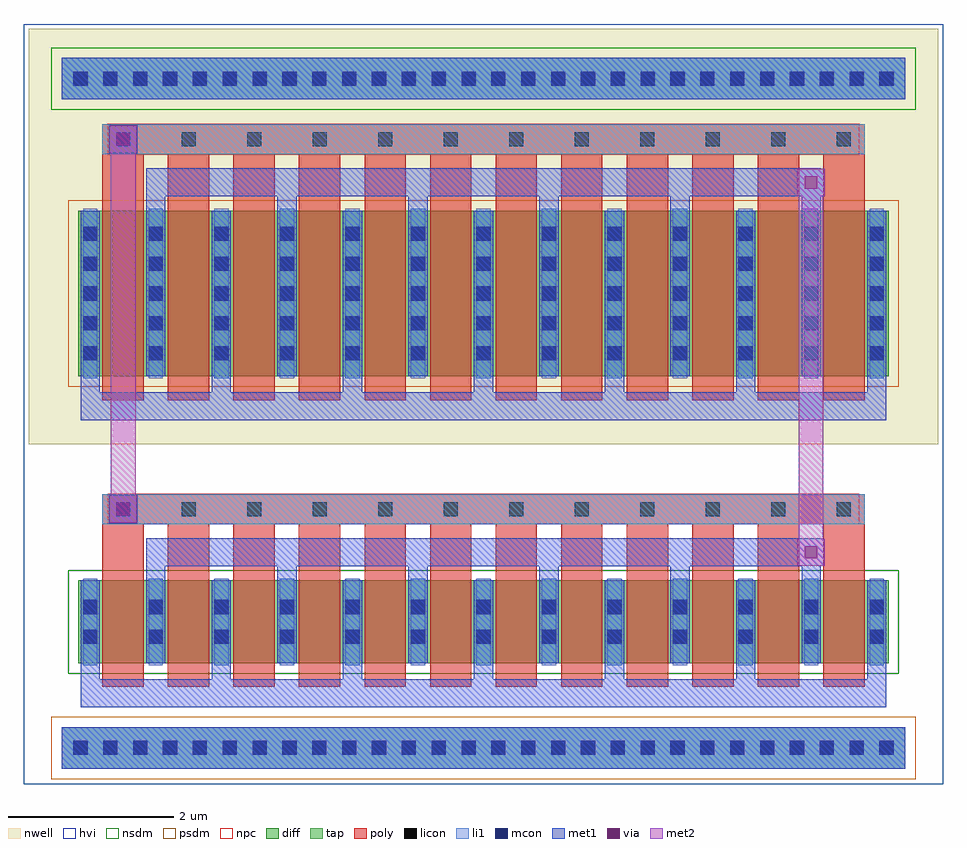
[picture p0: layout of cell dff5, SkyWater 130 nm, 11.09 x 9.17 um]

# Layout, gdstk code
import gdstk
lib = gdstk.Library(unit=1e-6, precision=1e-09)
def R(c, l, rs):  # rectangles x0, y0, x1, y1
    for r in rs: c.add(gdstk.rectangle(r[:2], r[2:], *l))
def A(c, l, x, y, w, h, nx, ny, dx, dy):  # array of equal rectangles
    R(c, l, [(x+i*dx, y+j*dy, x+i*dx+w, y+j*dy+h) for i in range(nx) for j in range(ny)])
def P(c, l, *ps):  # polygons
    for p in ps: c.add(gdstk.Polygon(p, *l))
nwell = (64, 20)
diff = (65, 20)
tap = (65, 44)
poly = (66, 20)
licon = (66, 44)
li1 = (67, 20)
mcon = (67, 44)
met1 = (68, 20)
via = (68, 44)
met2 = (69, 20)
hvi = (75, 20)
nsdm = (93, 44)
psdm = (94, 20)
npc = (95, 20)

dff5 = lib.new_cell('dff5')
R(dff5, nwell, [(-0.4,3.91,10.57,8.92)])
R(dff5, diff, [(0.2,1.27,9.97,2.27), (0.2,4.73,9.97,6.73)])
R(dff5, tap, [(0,0,10.17,0.5), (0,8.07,10.17,8.57)])
A(dff5, poly, 0.49, 0.985, 0.5, 1.57, 12, 1, 0.79, 0)
A(dff5, poly, 0.49, 2.27, 0.5, 0.86, 12, 2, 0.79, 4.46)
A(dff5, poly, 0.49, 4.445, 0.5, 2.57, 12, 1, 0.79, 0)
R(dff5, poly, [(0.49,2.95,9.68,3.31), (0.49,7.41,9.68,7.77)])
A(dff5, licon, 0.14, 0.165, 0.17, 0.17, 28, 2, 0.36, 8.07)
A(dff5, licon, 0.26, 1.505, 0.17, 0.17, 13, 2, 0.79, 0.36)
A(dff5, licon, 0.655, 3.045, 0.17, 0.17, 12, 2, 0.79, 4.46)
A(dff5, licon, 0.26, 4.925, 0.17, 0.17, 13, 5, 0.79, 0.36)
A(dff5, li1, 0.26, 1.25, 0.17, 1.04, 13, 1, 0.79, 0)
A(dff5, li1, 0.26, 4.71, 0.17, 2.04, 13, 1, 0.79, 0)
R(dff5, li1, [(0,0,10.17,0.5), (0.49,2.95,9.68,3.31), (0.49,7.41,9.68,7.77), (0,8.07,10.17,8.57)])
A(dff5, mcon, 0.14, 0.165, 0.17, 0.17, 28, 2, 0.36, 8.07)
A(dff5, mcon, 0.26, 1.505, 0.17, 0.17, 13, 2, 0.79, 0.36)
A(dff5, mcon, 0.26, 4.925, 0.17, 0.17, 13, 5, 0.79, 0.36)
R(dff5, mcon, [(0.655,3.045,0.825,3.215), (0.655,7.505,0.825,7.675)])
A(dff5, met1, 0.23, 0.74, 0.23, 0.53, 7, 2, 1.58, 3.46)
A(dff5, met1, 0.23, 1.27, 0.23, 1, 13, 1, 0.79, 0)
A(dff5, met1, 1.02, 2.27, 0.23, 0.51, 6, 2, 1.58, 4.46)
A(dff5, met1, 0.23, 4.73, 0.23, 2, 13, 1, 0.79, 0)
R(dff5, met1, [(0,0,10.17,0.5), (0.23,0.74,9.94,1.08), (1.02,2.44,9.15,2.78), (8.87,2.445,9.2,2.775), (0.57,2.96,0.91,3.3), (0.575,2.965,0.905,3.295), (0.23,4.2,9.94,4.54), (1.02,6.9,9.15,7.24), (8.87,6.905,9.2,7.235), (0.57,7.42,0.91,7.76), (0.575,7.425,0.905,7.755), (0,8.07,10.17,8.57)])
P(dff5, met1, [(9.035,2.44),(9.035,2.78),(9.035,2.78),(9.035,2.44)],
  [(9.035,6.9),(9.035,7.24),(9.035,7.24),(9.035,6.9)])
R(dff5, via, [(8.96,2.535,9.11,2.685), (0.665,3.055,0.815,3.205), (8.96,6.995,9.11,7.145), (0.665,7.515,0.815,7.665)])
R(dff5, met2, [(8.87,2.445,9.2,2.775), (8.885,2.61,9.185,7.07), (0.575,2.965,0.905,3.295), (0.59,3.13,0.89,7.59), (8.87,6.905,9.2,7.235), (0.575,7.425,0.905,7.755)])
R(dff5, hvi, [(-0.46,-0.185,10.63,8.98)])
R(dff5, nsdm, [(0.075,1.145,10.095,2.395), (-0.125,7.945,10.295,8.695)])
R(dff5, psdm, [(-0.125,-0.125,10.295,0.625), (0.075,4.605,10.095,6.855)])
R(dff5, npc, [(0.555,2.945,9.615,3.315), (0.555,7.405,9.615,7.775)])

lib.write_gds('dff5.gds')
